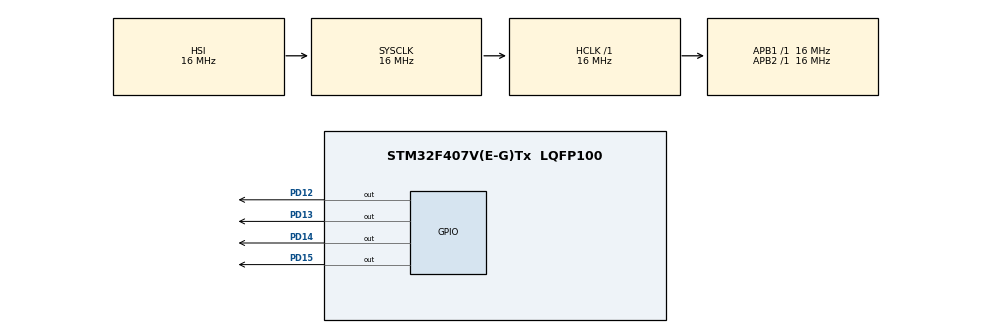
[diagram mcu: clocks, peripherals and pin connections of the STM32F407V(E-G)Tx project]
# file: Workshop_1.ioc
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FREERTOS.Tasks01=defaultTask,24,128,StartDefaultTask,Default,NULL,Dynamic,NULL,NULL
Mcu.Family=STM32F4
Mcu.Name=STM32F407V(E-G)Tx
Mcu.Package=LQFP100
NVIC.PriorityGroup=NVIC_PRIORITYGROUP_4
PA13.Mode=Serial_Wire
PA13.Signal=SYS_JTMS-SWDIO
PA14.Mode=Serial_Wire
PA14.Signal=SYS_JTCK-SWCLK
PD12.Signal=GPIO_Output
PD13.Signal=GPIO_Output
PD14.Signal=GPIO_Output
PD15.Signal=GPIO_Output
PD15.Stacked=true
ProjectManager.HeapSize=0x200
ProjectManager.StackSize=0x400
ProjectManager.TargetToolchain=STM32CubeIDE
RCC.AHBFreq_Value=16000000
RCC.APB1Freq_Value=16000000
RCC.APB2Freq_Value=16000000
RCC.CortexFreq_Value=16000000
RCC.HSE_VALUE=25000000
RCC.HSI_VALUE=16000000
RCC.LSE_VALUE=32768
RCC.SYSCLKFreq_VALUE=16000000
RCC.VCOOutputFreq_Value=192000000
VP_FREERTOS_VS_CMSIS_V2.Mode=CMSIS_V2
board=custom

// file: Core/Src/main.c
/* USER CODE BEGIN Header */
/**
  ******************************************************************************
  * @file           : main.c
  * @brief          : Main program body
  ******************************************************************************
  * @attention
  *
  * <h2><center>&copy; Copyright (c) 2021 STMicroelectronics.
  * All rights reserved.</center></h2>
  *
  * This software component is licensed by ST under BSD 3-Clause license,
  * the "License"; You may not use this file except in compliance with the
  * License. You may obtain a copy of the License at:
  *                        opensource.org/licenses/BSD-3-Clause
  *
  ******************************************************************************
  */
/* USER CODE END Header */

#include "main.h"
#include "cmsis_os.h"

/* Definitions for defaultTask */
osThreadId_t defaultTaskHandle;
const osThreadAttr_t defaultTask_attributes = {
  .name = "defaultTask",
  .priority = (osPriority_t) osPriorityNormal,
  .stack_size = 128 * 4
};

void SystemClock_Config(void);
static void MX_GPIO_Init(void);
void StartDefaultTask(void *argument);

int main(void)
{

  /* MCU Configuration--------------------------------------------------------*/

  /* Reset of all peripherals, Initializes the Flash interface and the Systick. */
  HAL_Init();

  /* Configure the system clock */
  SystemClock_Config();

  /* Initialize all configured peripherals */
  MX_GPIO_Init();

  /* Init scheduler */
  osKernelInitialize();

  /* Create the thread(s) */
  /* creation of defaultTask */
  defaultTaskHandle = osThreadNew(StartDefaultTask, NULL, &defaultTask_attributes);

  /* Start scheduler */
  osKernelStart();

  /* We should never get here as control is now taken by the scheduler */
  /* Infinite loop */
  while (1)
  {

  }
}

void SystemClock_Config(void)
{
  RCC_OscInitTypeDef RCC_OscInitStruct = {0};
  RCC_ClkInitTypeDef RCC_ClkInitStruct = {0};

  /** Configure the main internal regulator output voltage
  */
  __HAL_RCC_PWR_CLK_ENABLE();
  __HAL_PWR_VOLTAGESCALING_CONFIG(PWR_REGULATOR_VOLTAGE_SCALE1);
  /** Initializes the CPU, AHB and APB busses clocks
  */
  RCC_OscInitStruct.OscillatorType = RCC_OSCILLATORTYPE_HSI;
  RCC_OscInitStruct.HSIState = RCC_HSI_ON;
  RCC_OscInitStruct.HSICalibrationValue = RCC_HSICALIBRATION_DEFAULT;
  RCC_OscInitStruct.PLL.PLLState = RCC_PLL_NONE;
  if (HAL_RCC_OscConfig(&RCC_OscInitStruct) != HAL_OK)
  {
    Error_Handler();
  }
  /** Initializes the CPU, AHB and APB busses clocks
  */
  RCC_ClkInitStruct.ClockType = RCC_CLOCKTYPE_HCLK|RCC_CLOCKTYPE_SYSCLK
                              |RCC_CLOCKTYPE_PCLK1|RCC_CLOCKTYPE_PCLK2;
  RCC_ClkInitStruct.SYSCLKSource = RCC_SYSCLKSOURCE_HSI;
  RCC_ClkInitStruct.AHBCLKDivider = RCC_SYSCLK_DIV1;
  RCC_ClkInitStruct.APB1CLKDivider = RCC_HCLK_DIV1;
  RCC_ClkInitStruct.APB2CLKDivider = RCC_HCLK_DIV1;

  if (HAL_RCC_ClockConfig(&RCC_ClkInitStruct, FLASH_LATENCY_0) != HAL_OK)
  {
    Error_Handler();
  }
}

static void MX_GPIO_Init(void)
{
  GPIO_InitTypeDef GPIO_InitStruct = {0};

  /* GPIO Ports Clock Enable */
  __HAL_RCC_GPIOD_CLK_ENABLE();
  __HAL_RCC_GPIOA_CLK_ENABLE();

  /*Configure GPIO pin Output Level */
  HAL_GPIO_WritePin(GPIOD, GPIO_PIN_12|GPIO_PIN_13|GPIO_PIN_14|GPIO_PIN_15, GPIO_PIN_RESET);

  /*Configure GPIO pins : PD12 PD13 PD14 PD15 */
  GPIO_InitStruct.Pin = GPIO_PIN_12|GPIO_PIN_13|GPIO_PIN_14|GPIO_PIN_15;
  GPIO_InitStruct.Mode = GPIO_MODE_OUTPUT_PP;
  GPIO_InitStruct.Pull = GPIO_NOPULL;
  GPIO_InitStruct.Speed = GPIO_SPEED_FREQ_LOW;
  HAL_GPIO_Init(GPIOD, &GPIO_InitStruct);

}

void StartDefaultTask(void *argument)
{
  /* USER CODE BEGIN 5 */
  HAL_GPIO_WritePin(GPIOD, GPIO_PIN_12|GPIO_PIN_13|GPIO_PIN_14|GPIO_PIN_15, GPIO_PIN_SET);
  HAL_Delay(800);
  HAL_GPIO_WritePin(GPIOD, GPIO_PIN_12|GPIO_PIN_13|GPIO_PIN_14|GPIO_PIN_15, GPIO_PIN_RESET);
  HAL_Delay(400);
  HAL_GPIO_WritePin(GPIOD, GPIO_PIN_12|GPIO_PIN_13|GPIO_PIN_14|GPIO_PIN_15, GPIO_PIN_SET);
  HAL_Delay(800);
  HAL_GPIO_WritePin(GPIOD, GPIO_PIN_12|GPIO_PIN_13|GPIO_PIN_14|GPIO_PIN_15, GPIO_PIN_RESET);
  HAL_Delay(400);
  HAL_GPIO_WritePin(GPIOD, GPIO_PIN_12|GPIO_PIN_13|GPIO_PIN_14|GPIO_PIN_15, GPIO_PIN_SET);
  HAL_Delay(800);
  HAL_GPIO_WritePin(GPIOD, GPIO_PIN_12|GPIO_PIN_13|GPIO_PIN_14|GPIO_PIN_15, GPIO_PIN_RESET);
  HAL_Delay(400);
  /* Infinite loop */
  for(;;)
  {
	HAL_GPIO_WritePin(GPIOD, GPIO_PIN_12, GPIO_PIN_SET);
	HAL_Delay(1600);
	HAL_GPIO_WritePin(GPIOD, GPIO_PIN_12, GPIO_PIN_RESET);
	HAL_GPIO_WritePin(GPIOD, GPIO_PIN_13, GPIO_PIN_SET);
	HAL_Delay(800);
	HAL_GPIO_WritePin(GPIOD, GPIO_PIN_13, GPIO_PIN_RESET);
	HAL_GPIO_WritePin(GPIOD, GPIO_PIN_14, GPIO_PIN_SET);
	HAL_Delay(400);
	HAL_GPIO_WritePin(GPIOD, GPIO_PIN_14, GPIO_PIN_RESET);
	HAL_GPIO_WritePin(GPIOD, GPIO_PIN_15, GPIO_PIN_SET);
	HAL_Delay(300);
	HAL_GPIO_WritePin(GPIOD, GPIO_PIN_15, GPIO_PIN_RESET);
	HAL_GPIO_WritePin(GPIOD, GPIO_PIN_12, GPIO_PIN_SET);
	HAL_Delay(200);
	HAL_GPIO_WritePin(GPIOD, GPIO_PIN_12, GPIO_PIN_RESET);
	HAL_GPIO_WritePin(GPIOD, GPIO_PIN_13, GPIO_PIN_SET);
	HAL_Delay(150);
	HAL_GPIO_WritePin(GPIOD, GPIO_PIN_13, GPIO_PIN_RESET);
	HAL_GPIO_WritePin(GPIOD, GPIO_PIN_14, GPIO_PIN_SET);
	HAL_Delay(100);
	HAL_GPIO_WritePin(GPIOD, GPIO_PIN_14, GPIO_PIN_RESET);
	HAL_GPIO_WritePin(GPIOD, GPIO_PIN_15, GPIO_PIN_SET);
	HAL_Delay(50);
	HAL_GPIO_WritePin(GPIOD, GPIO_PIN_15, GPIO_PIN_RESET);
  }
  /* USER CODE END 5 */
}

void Error_Handler(void)
{
}

/************************ (C) COPYRIGHT STMicroelectronics *****END OF FILE****/
